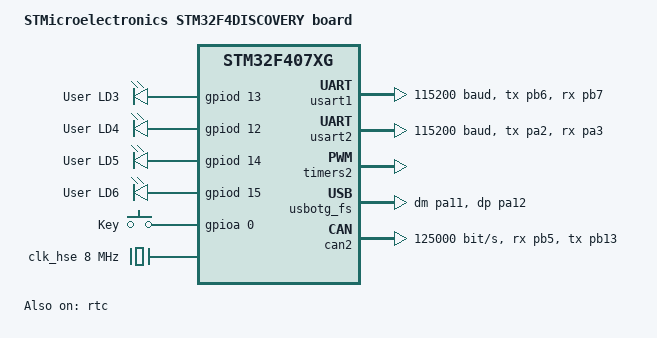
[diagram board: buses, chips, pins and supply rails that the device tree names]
/*
 * Copyright (c) 2017 Linaro Limited
 *
 * SPDX-License-Identifier: Apache-2.0
 */

/dts-v1/;
#include <st/f4/stm32f407Xg.dtsi>
#include <st/f4/stm32f407v(e-g)tx-pinctrl.dtsi>

/ {
	model = "STMicroelectronics STM32F4DISCOVERY board";
	compatible = "st,stm32f4discovery";

	chosen {
		zephyr,console = &usart2;
		zephyr,shell-uart = &usart2;
		zephyr,sram = &sram0;
		zephyr,flash = &flash0;
		zephyr,ccm = &ccm0;
		zephyr,canbus = &can2;
	};

	leds {
		compatible = "gpio-leds";
		orange_led_3: led_3 {
			gpios = <&gpiod 13 GPIO_ACTIVE_HIGH>;
			label = "User LD3";
		};
		green_led_4: led_4 {
			gpios = <&gpiod 12 GPIO_ACTIVE_HIGH>;
			label = "User LD4";
		};
		red_led_5: led_5 {
			gpios = <&gpiod 14 GPIO_ACTIVE_HIGH>;
			label = "User LD5";
		};
		blue_led_6: led_6 {
			gpios = <&gpiod 15 GPIO_ACTIVE_HIGH>;
			label = "User LD6";
		};
	};

	gpio_keys {
		compatible = "gpio-keys";
		user_button: button {
			label = "Key";
			gpios = <&gpioa 0 GPIO_ACTIVE_HIGH>;
		};
	};

	aliases {
		led0 = &green_led_4;
		led1 = &orange_led_3;
		led2 = &red_led_5;
		led3 = &blue_led_6;
		sw0 = &user_button;
	};
};

&usart1 {
	pinctrl-0 = <&usart1_tx_pb6 &usart1_rx_pb7>;
	pinctrl-names = "default";
	current-speed = <115200>;
	status = "okay";
};

&clk_lsi {
	status = "okay";
};

&clk_hse {
	clock-frequency = <DT_FREQ_M(8)>;
	status = "okay";
};

&pll {
	div-m = <8>;
	mul-n = <336>;
	div-p = <2>;
	div-q = <7>;
	clocks = <&clk_hse>;
	status = "okay";
};

&rcc {
	clocks = <&pll>;
	clock-frequency = <DT_FREQ_M(168)>;
	ahb-prescaler = <1>;
	apb1-prescaler = <4>;
	apb2-prescaler = <2>;
};

&usart2 {
	pinctrl-0 = <&usart2_tx_pa2 &usart2_rx_pa3>;
	pinctrl-names = "default";
	current-speed = <115200>;
	status = "okay";
};

&timers2 {
	status = "okay";

	pwm2: pwm {
		status = "okay";
		pinctrl-0 = <&tim2_ch1_pa0>;
		pinctrl-names = "default";
	};
};

&rtc {
	clocks = <&rcc STM32_CLOCK_BUS_APB1 0x10000000>,
		 <&rcc STM32_SRC_LSI RTC_SEL(2)>;
	status = "okay";

	backup_regs {
		status = "okay";
	};
};

zephyr_udc0: &usbotg_fs {
	pinctrl-0 = <&usb_otg_fs_dm_pa11 &usb_otg_fs_dp_pa12>;
	pinctrl-names = "default";
	status = "okay";
};

&can1 {
	pinctrl-0 = <&can1_rx_pb8 &can1_tx_pb9>;
	pinctrl-names = "default";
	bus-speed = <125000>;
	status = "disabled";
};

&can2 {
	pinctrl-0 = <&can2_rx_pb5 &can2_tx_pb13>;
	pinctrl-names = "default";
	bus-speed = <125000>;
	status = "okay";
};
